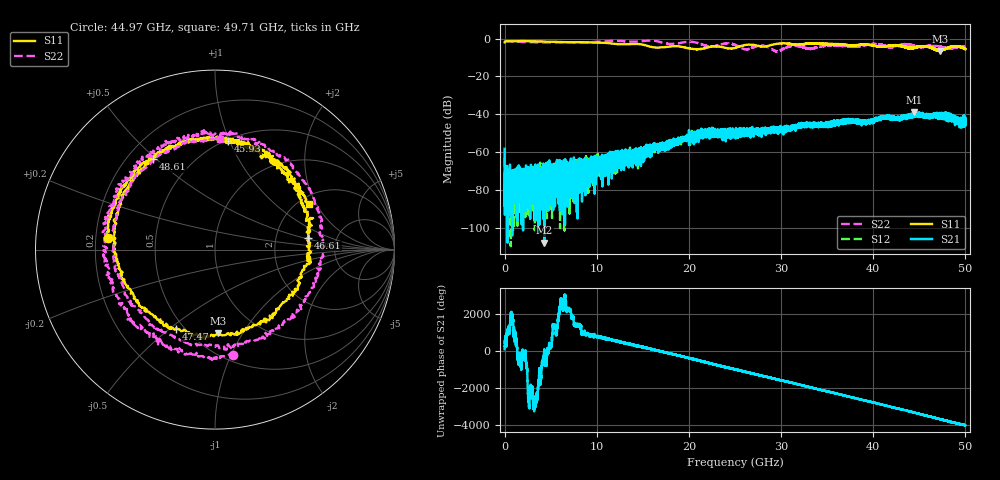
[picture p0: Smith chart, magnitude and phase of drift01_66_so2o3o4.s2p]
!Created with skrf (http://scikit-rf.org).
# Hz S RI R 50.0
!freq ReS11 ImS11 ReS21 ImS21 ReS12 ImS12 ReS22 ImS22
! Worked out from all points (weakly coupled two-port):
!   10001 points, 300 kHz to 50 GHz, reference 50 ohm
!   highest |S21| = -38.91 dB at 44.44 GHz (marker M1); lowest = -107.9 dB at 4.305 GHz (marker M2)
!   lowest |S11| = -6.6 dB at 47.28 GHz (marker M3), VSWR 2.76, Z = 33 - j39.5 ohm
!   |S11| at or under -10 dB: nowhere
!   |S22| runs from -6.8 to -1.0 dB; largest |S21 - S12| = 0.0036
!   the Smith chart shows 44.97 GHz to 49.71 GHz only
!   S11 on the Smith chart (normalised r, x): 44.97 GHz: 0.25, +0.05; 45.93 GHz: 0.52, +0.99; 46.61 GHz: 3.06, +0.56; 47.47 GHz: 0.45, -0.53; 48.61 GHz: 0.30, +0.49; 49.71 GHz: 2.25, +1.74
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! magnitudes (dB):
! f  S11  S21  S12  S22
! 300 kHz  -2.0  -58.3  -63.3  -1.3
! 260.3 MHz  -1.4  -79.4  -81.1  -1.4
! 4.305 GHz  -1.6  -107.9  -77.0  -2.1
! 8.335 GHz  -1.9  -68.9  -68.1  -2.1
! 16.67 GHz  -4.8  -60.5  -55.9  -1.6
! 21.31 GHz  -5.5  -50.3  -51.2  -2.9
! 25 GHz  -5.0  -51.3  -50.1  -3.4
! 26.19 GHz  -3.4  -48.4  -48.3  -5.7
! 28.08 GHz  -4.3  -48.4  -48.8  -3.8
! 29.54 GHz  -2.8  -47.4  -48.9  -6.7
! 31.29 GHz  -3.1  -47.3  -46.8  -3.9
! 33.34 GHz  -2.6  -45.2  -45.5  -5.2
! 41.67 GHz  -3.9  -41.5  -41.5  -4.4
! 44.44 GHz  -4.9  -38.9  -39.9  -3.8
! 44.97 GHz  -4.5  -39.5  -40.3  -4.5
! 45.93 GHz  -4.3  -40.8  -40.8  -4.1
! 46.61 GHz  -5.7  -40.2  -41.1  -3.8
! 47.28 GHz  -6.6  -41.4  -39.4  -4.2
! 47.47 GHz  -6.2  -41.5  -40.9  -4.4
! 48.61 GHz  -4.3  -42.5  -41.4  -5.2
! 49.71 GHz  -4.7  -45.4  -42.3  -4.2
! 50 GHz  -5.5  -42.5  -43.4  -4.2
